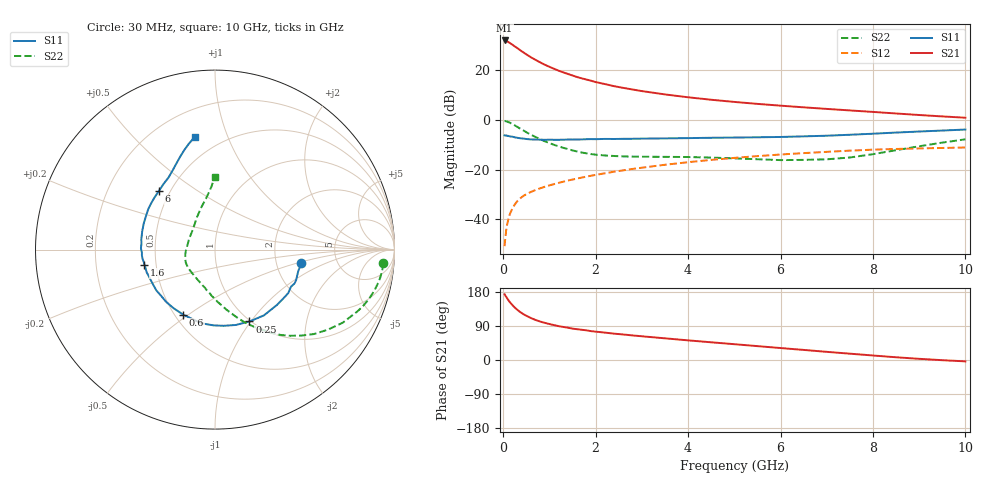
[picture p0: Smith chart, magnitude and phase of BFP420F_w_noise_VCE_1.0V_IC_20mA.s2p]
! Infineon Technologies  Discrete & RF Semiconductors
! BFP420F
! VCE =  1.0 V,  IC =  20 mA
! Common Emitter S-Parameters:  Sep 2011
# GHz  S  MA  R  50
!  f  S11  S21  S12  S22
! GHz  MAG  ANG  MAG  ANG  MAG  ANG  MAG  ANG
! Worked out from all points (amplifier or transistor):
!   54 points, 30 MHz to 10 GHz, reference 50 ohm
!   highest |S21| = 31.8 dB at 30 MHz (marker M1)
!   |S21| within 3 dB of that: start of sweep to 299.4 MHz
!   unconditionally stable (mu >= 1): 1.56 GHz to end of sweep
!   at 120 MHz: K = 0.27, MSG = 35.3 dB, |S12| = -39.4 dB
!   at 1.3 GHz: K = 0.93, MSG = 21.9 dB, |S12| = -24.9 dB
!   at 10 GHz: K = 1.22, MAG = 3.1 dB, |S12| = -11.1 dB
!   lowest NFmin = 1.53 dB at 450 MHz
!   S11 on the Smith chart (normalised r, x): 30 MHz: 2.77, -0.54; 250 MHz: 0.99, -0.98; 600 MHz: 0.55, -0.48; 1.6 GHz: 0.43, -0.09; 6 GHz: 0.43, +0.35; 10 GHz: 0.36, +0.77
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0.03  0.4864 -8.8  39.09 173.5  0.0029 90.8  0.9409 -4.6
0.07  0.4829 -20.5  38.12 165.7  0.0066 84.8  0.9282 -11.4
0.12  0.4699 -33.9  36 156.3  0.0107 78.4  0.8927 -19.1
0.15  0.463 -41.7  34.44 151.7  0.0132 76.2  0.8663 -23.3
0.2  0.4568 -53.4  32.06 144.8  0.0168 72.7  0.8199 -29.8
0.25  0.4441 -64.4  29.67 138.4  0.0199 69.1  0.7705 -35.4
0.3  0.4357 -74.5  27.65 133.0  0.023 66.9  0.7246 -40.5
0.4  0.4221 -91.3  23.71 123.8  0.028 63.3  0.6372 -48.9
0.5  0.4108 -104.7  20.55 116.7  0.032 60.8  0.5626 -55.7
0.6  0.4033 -116.2  17.94 110.7  0.0356 59.4  0.4997 -61.5
0.8  0.3985 -133.2  14.18 101.4  0.0421 58.1  0.4066 -71.1
1  0.3981 -145.1  11.56 94.9  0.0482 57.9  0.34 -79.3
1.2  0.3963 -154.5  9.646 89.3  0.0541 57.8  0.2923 -87.0
1.6  0.4018 -167.9  7.191 81.2  0.0661 57.7  0.2309 -101.5
1.7  0.4032 -170.5  6.779 79.8  0.0691 57.7  0.2196 -104.9
2.4  0.4112 175.4  4.719 69.5  0.0906 56.3  0.1873 -127.0
3.5  0.4229 159.8  3.227 57.2  0.1249 52.2  0.18 -148.0
5.5  0.4447 139.4  2.083 36.6  0.1863 40.2  0.1612 179.9
6  0.4515 134.0  1.919 31.6  0.2006 36.9  0.1549 169.1
7  0.4783 122.7  1.651 21.5  0.227 29.9  0.1606 144.2
8.5  0.5533 110.5  1.337 7.2  0.2593 18.6  0.2449 108.6
10  0.6366 100.3  1.099 -3.6  0.2777 9.5  0.4049 90.2
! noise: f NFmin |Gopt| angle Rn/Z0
0.45  1.53  0.18  -179  0.15
0.9  1.54  0.18  -179  0.17
1.9  1.66  0.26  -170  0.15
2.4  1.72  0.27  -165  0.11
3.5  1.96  0.29  -155  0.15
